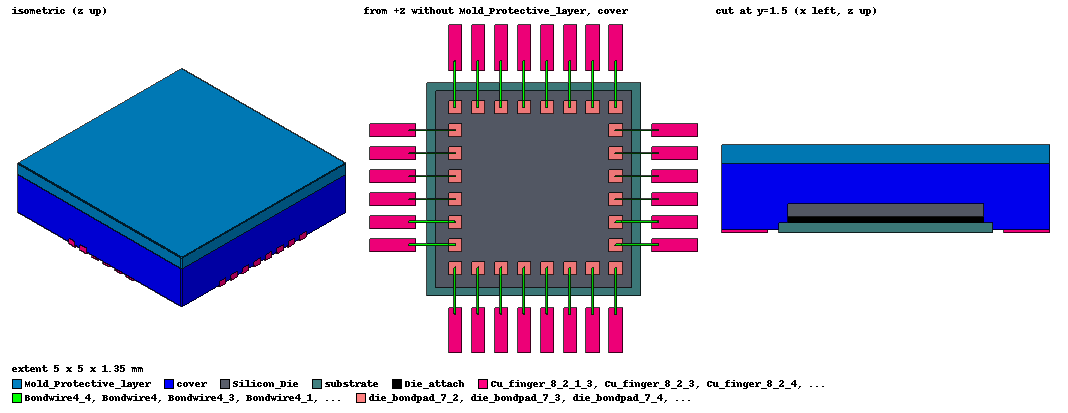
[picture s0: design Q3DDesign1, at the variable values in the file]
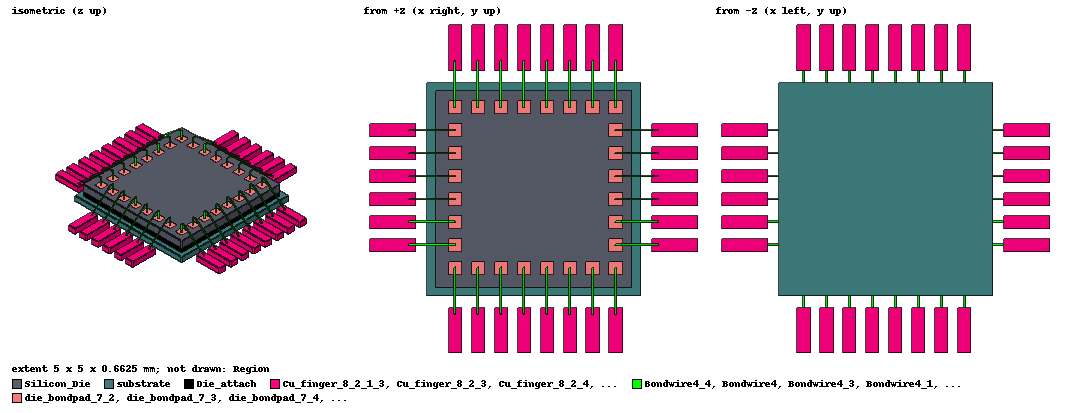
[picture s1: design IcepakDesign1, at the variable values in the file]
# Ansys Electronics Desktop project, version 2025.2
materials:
  vacuum: permittivity=1
  copper: permeability=0.999991 conductivity=58000000 thermal_conductivity=400 mass_density=8933 specific_heat=385 youngs_modulus=120000000000 poissons_ratio=0.38 thermal_expansion_coefficient=1.77e-05
  silicon: permittivity=11.9 thermal_conductivity=148 mass_density=2330 specific_heat=712 youngs_modulus=135000000000 poissons_ratio=0.25 thermal_expansion_coefficient=2.54e-06
  FR4_epoxy: permittivity=4.4 dielectric_loss_tangent=0.02 thermal_conductivity=0.294 mass_density=1900 specific_heat=1150 youngs_modulus=11000000000 poissons_ratio=0.28 thermal_expansion_coefficient=1.5e-05
  epoxy_Kevlar_xy: permittivity=3.6 thermal_conductivity=0.17 mass_density=450
  modified_epoxy: permittivity=4.2 dielectric_loss_tangent=0.02 thermal_conductivity=0.2 mass_density=1200 specific_heat=1000
  gold: permeability=0.99996 conductivity=41000000 thermal_conductivity=315 mass_density=19300 specific_heat=129 youngs_modulus=80000000000 poissons_ratio=0.4 thermal_expansion_coefficient=1.4e-05
  Al-Extruded: thermal_conductivity=205 mass_density=2800 specific_heat=900 youngs_modulus=69000000000 poissons_ratio=0.33 thermal_expansion_coefficient=2.277e-06 thermal_material_type=Solid
  air: permittivity=1.0006 permeability=1.0000004 thermal_conductivity=0.0261 mass_density=1.1614 specific_heat=1005 thermal_expansion_coefficient=0.00333 thermal_material_type=Fluid diffusivity=2.88e-05 molecular_mass=0.028966 viscosity=1.84e-05 material_refractive_index=1.000293
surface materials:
  Steel-oxidised-surface: surface_emissivity=0.8

design Q3DDesign1 (Q3D Extractor, model units mm)
options: SParamCalcMethod=EqTransLine Calculate_Lossy_Dielectrics
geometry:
  Silicon_Die [silicon] = rectangle(corner=(0mm, 0mm, 0mm), x_size=3mm, y_size=3mm)
  Silicon_Die.thicken(0.2mm)
  substrate [copper] = rectangle(corner=(-0.125mm, -0.125mm, -0.1mm), x_size=3.25mm, y_size=3.25mm)
  substrate.thicken(-0.15mm)
  Die_attach [modified_epoxy] = rectangle(corner=(0mm, 0mm, 0mm), x_size=3mm, y_size=3mm)
  Die_attach.thicken(-0.1mm)
  die_bondpad [copper] = rectangle(corner=(0.2mm, 0.2mm, 0.2mm), x_size=0.2mm, y_size=0.2mm)
  die_bondpad_1..die_bondpad_7 [copper] = die_bondpad.duplicate_along_line(step=(0.35mm, 0mm, 0mm), total=8)
  die_bondpad_7_1..die_bondpad_7_7 [copper] = die_bondpad_7.duplicate_along_line(step=(0mm, 0.35mm, 0mm), total=8)
  die_bondpad_7_7_1..die_bondpad_7_7_7 [copper] = die_bondpad_7_7.duplicate_along_line(step=(-0.35mm, 0mm, 0mm), total=8)
  die_bondpad_7_7_7_1..die_bondpad_7_7_7_6 [copper] = die_bondpad_7_7_7.duplicate_along_line(step=(0mm, -0.35mm, 0mm), total=7)
  Mold_Protective_layer [epoxy_Kevlar_xy] = rectangle(corner=(-1mm, 4mm, -0.1mm), x_size=5mm, y_size=-5mm)
  Mold_Protective_layer.thicken(-1.2mm)
  Cu_finger [copper] = rectangle(corner=(0.2mm, -0.3mm, -0.1mm), x_size=0.2mm, y_size=-0.7mm)
  Cu_finger.thicken(0.15mm)
  Cu_finger_1..Cu_finger_7 [copper] = Cu_finger.duplicate_along_line(step=(0.35mm, -1.110223e-16mm, 0mm), total=8)
  Cu_finger_8 [copper] = Cu_finger.duplicate_around_axis(axis=Z, angle=90deg, total=2)
  Cu_finger_8.move(-1.2499945mm, 0.35277217mm, -0.1mm)
  Cu_finger_8_2 [copper] = Cu_finger_8.duplicate_around_axis(axis=Z, angle=90deg, total=3)  # copies kept: 2
  Cu_finger_8.move(-0.050005489mm, -0.0027721735mm, -6.9388939e-17mm)
  Cu_finger_8_2.move(3.0499892mm, 1.2988829mm, 0mm)
  Cu_finger_8_2.move(1.6260283e-05mm, 0.0038893125mm, -1.110223e-16mm)
  Cu_finger_8_2.move(0.05mm, 0mm, 0mm)
  Cu_finger_8_2.move(0mm, 0mm, 0.075mm)
  Cu_finger_8_2.move(-0.5mm, -7.7715612e-16mm, 0.025mm)
  Cu_finger_8.move(0.5mm, -7.7715612e-15mm, 0.1mm)
  Cu_finger_8.move(-0.5mm, -6.8833828e-15mm, -0.1mm)
  Cu_finger_8_2.move(0.48998923mm, -0.001117139mm, -0.1mm)
  Cu_finger_8_2.move(0.01mm, 0mm, 0mm)
  Cu_finger_8_2_1 [copper] = Cu_finger_8_2.duplicate_around_axis(axis=Z, angle=90deg, total=2)
  Cu_finger_8_2_1.move(0.94722783mm, -0.010005489mm, -0.1mm)
  Cu_finger_8_2_1.move(0.0016550345mm, 0.01001626mm, 0.2mm)
  [Cu_finger_8_2, Cu_finger_8].move(0mm, 0mm, 0.1mm)
  Cu_finger_8_3..Cu_finger_8_7 [copper] = Cu_finger_8.duplicate_along_line(step=(1.110223e-16mm, 0.35mm, -6.9388939e-17mm), total=6)
  Cu_finger_8_2_1_1..Cu_finger_8_2_1_7 [copper] = Cu_finger_8_2_1.duplicate_along_line(step=(0.35mm, 0mm, -6.9388939e-17mm), total=8)
  Bondwire1 [gold] = bondwire(WireType=JEDEC_4Points WireDiameter=0.025mm NumSides=6 XPadPos=0.3mm YPadPos=0.3mm ZPadPos=0.2mm XDir=0mm YDir=-0.7mm ZDir=0mm Distance=0.7mm h1=0.2mm h2=0.3mm alpha=80deg beta=80deg WhichAxis=Z)
  Bondwire1_1..Bondwire1_7 [gold] = Bondwire1.duplicate_along_line(step=(0.35mm, 0mm, 0mm), total=8)
  Bondwire3 [gold] = bondwire(WireType=JEDEC_4Points WireDiameter=0.025mm NumSides=6 XPadPos=2.75mm YPadPos=2.75mm ZPadPos=0.2mm XDir=4.4408921e-16mm YDir=0.7mm ZDir=0mm Distance=0.7mm h1=0.2mm h2=0.3mm alpha=80deg beta=80deg WhichAxis=Z)
  Bondwire3_1..Bondwire3_7 [gold] = Bondwire3.duplicate_along_line(step=(-0.35mm, 0mm, 0mm), total=8)
  Bondwire4 [gold] = bondwire(WireType=JEDEC_4Points WireDiameter=0.025mm NumSides=6 XPadPos=0.3mm YPadPos=0.65mm ZPadPos=0.2mm XDir=-0.7mm YDir=-7.4384943e-15mm ZDir=0mm Distance=0.7mm h1=0.2mm h2=0.3mm alpha=80deg beta=80deg WhichAxis=Z)
  Bondwire4_1..Bondwire4_5 [gold] = Bondwire4.duplicate_along_line(step=(0mm, 0.35mm, 0mm), total=6)
  [Cu_finger_8_2_1, Cu_finger_8_2_1_1..Cu_finger_8_2_1_7].move(0mm, -0.05mm, 0mm)
  Cu_finger_8_2.move(-0.049935374mm, 0.00053317837mm, 0mm)
  Cu_finger_8_2_2..Cu_finger_8_2_6 [copper] = Cu_finger_8_2.duplicate_along_line(step=(-5.3855069e-05mm, 0.35058396mm, 0mm), total=6)
  Bondwire5 [gold] = bondwire(WireType=JEDEC_4Points WireDiameter=0.025mm NumSides=6 XPadPos=2.75mm YPadPos=0.65mm ZPadPos=0.2mm XDir=0.65002693mm YDir=-0.00029198031mm ZDir=0mm Distance=0.65002699mm h1=0.2mm h2=0.3mm alpha=80deg beta=80deg WhichAxis=Z)
  Bondwire5_1..Bondwire5_5 [gold] = Bondwire5.duplicate_along_line(step=(0mm, 0.35mm, 0mm), total=6)
  cover [epoxy_Kevlar_xy] = rectangle(corner=(-1mm, 4mm, -0.2mm), x_size=5mm, y_size=-5mm)
  cover.thicken(-1mm)

design IcepakDesign1 (Icepak, SteadyState TemperatureAndFlow, model units mm)
options: Default_Fluid_Material=air Default_Solid_Material=Al-Extruded Default_Surface_Material=Steel-oxidised-surface AmbientTemperature=20cel AmbientPressure=0n_per_meter_sq AmbientRadiationTemperature=20cel Gravity_Vector_CS_ID=Global Gravity_Vector_Axis=Z Positive=false SherlockExportDirectory="C:/Users/Aman Ghoroi/Desktop/Ansys Packaging/package_building.aedtexport/IcepakDesign1/" Altitude=0meter OperatingPressure=101325n_per_meter_sq OperatingDensity=1.225kg_per_m3
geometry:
  Region [air] = region(percentage_offset=50 on all sides)
  Silicon_Die [silicon] = rectangle(corner=(0mm, 0mm, 0mm), x_size=3mm, y_size=3mm)
  Silicon_Die.thicken(0.2mm)
  substrate [copper] = rectangle(corner=(-0.125mm, -0.125mm, -0.1mm), x_size=3.25mm, y_size=3.25mm)
  substrate.thicken(-0.15mm)
  Die_attach [modified_epoxy] = rectangle(corner=(0mm, 0mm, 0mm), x_size=3mm, y_size=3mm)
  Die_attach.thicken(-0.1mm)
  die_bondpad [copper] = rectangle(corner=(0.2mm, 0.2mm, 0.2mm), x_size=0.2mm, y_size=0.2mm)
  die_bondpad_1..die_bondpad_7 [copper] = die_bondpad.duplicate_along_line(step=(0.35mm, 0mm, 0mm), total=8)
  die_bondpad_7_1..die_bondpad_7_7 [copper] = die_bondpad_7.duplicate_along_line(step=(0mm, 0.35mm, 0mm), total=8)
  die_bondpad_7_7_1..die_bondpad_7_7_7 [copper] = die_bondpad_7_7.duplicate_along_line(step=(-0.35mm, 0mm, 0mm), total=8)
  die_bondpad_7_7_7_1..die_bondpad_7_7_7_6 [copper] = die_bondpad_7_7_7.duplicate_along_line(step=(0mm, -0.35mm, 0mm), total=7)
  Cu_finger [copper] = rectangle(corner=(0.2mm, -0.3mm, -0.1mm), x_size=0.2mm, y_size=-0.7mm)
  Cu_finger.thicken(0.15mm)
  Cu_finger_1..Cu_finger_7 [copper] = Cu_finger.duplicate_along_line(step=(0.35mm, -1.110223e-16mm, 0mm), total=8)
  Cu_finger_8 [copper] = Cu_finger.duplicate_around_axis(axis=Z, angle=90deg, total=2)
  Cu_finger_8.move(-1.2499945mm, 0.35277217mm, -0.1mm)
  Cu_finger_8_2 [copper] = Cu_finger_8.duplicate_around_axis(axis=Z, angle=90deg, total=3)  # copies kept: 2
  Cu_finger_8.move(-0.050005489mm, -0.0027721735mm, -6.9388939e-17mm)
  Cu_finger_8.move(0.5mm, -7.7715612e-15mm, 0.1mm)
  Cu_finger_8.move(-0.5mm, -6.8833828e-15mm, -0.1mm)
  Cu_finger_8.move(0mm, 0mm, 0.1mm)
  Cu_finger_8_3..Cu_finger_8_7 [copper] = Cu_finger_8.duplicate_along_line(step=(1.110223e-16mm, 0.35mm, -6.9388939e-17mm), total=6)
  Cu_finger_8_2.move(3.0499892mm, 1.2988829mm, 0mm)
  Cu_finger_8_2.move(1.6260283e-05mm, 0.0038893125mm, -1.110223e-16mm)
  Cu_finger_8_2.move(0.05mm, 0mm, 0mm)
  Cu_finger_8_2.move(0mm, 0mm, 0.075mm)
  Cu_finger_8_2.move(-0.5mm, -7.7715612e-16mm, 0.025mm)
  Cu_finger_8_2.move(0.48998923mm, -0.001117139mm, -0.1mm)
  Cu_finger_8_2.move(0.01mm, 0mm, 0mm)
  Cu_finger_8_2_1 [copper] = Cu_finger_8_2.duplicate_around_axis(axis=Z, angle=90deg, total=2)
  Cu_finger_8_2.move(0mm, 0mm, 0.1mm)
  Cu_finger_8_2.move(-0.049935374mm, 0.00053317837mm, 0mm)
  Cu_finger_8_2_2..Cu_finger_8_2_6 [copper] = Cu_finger_8_2.duplicate_along_line(step=(-5.3855069e-05mm, 0.35058396mm, 0mm), total=6)
  Cu_finger_8_2_1.move(0.94722783mm, -0.010005489mm, -0.1mm)
  Cu_finger_8_2_1.move(0.0016550345mm, 0.01001626mm, 0.2mm)
  Cu_finger_8_2_1_1..Cu_finger_8_2_1_7 [copper] = Cu_finger_8_2_1.duplicate_along_line(step=(0.35mm, 0mm, -6.9388939e-17mm), total=8)
  [Cu_finger_8_2_1, Cu_finger_8_2_1_1..Cu_finger_8_2_1_7].move(0mm, -0.05mm, 0mm)
  Bondwire1 [gold] = bondwire(WireType=JEDEC_4Points WireDiameter=0.025mm NumSides=6 XPadPos=0.3mm YPadPos=0.3mm ZPadPos=0.2mm XDir=0mm YDir=-0.7mm ZDir=0mm Distance=0.7mm h1=0.2mm h2=0.3mm alpha=80deg beta=80deg WhichAxis=Z)
  Bondwire1_1..Bondwire1_7 [gold] = Bondwire1.duplicate_along_line(step=(0.35mm, 0mm, 0mm), total=8)
  Bondwire3 [gold] = bondwire(WireType=JEDEC_4Points WireDiameter=0.025mm NumSides=6 XPadPos=2.75mm YPadPos=2.75mm ZPadPos=0.2mm XDir=4.4408921e-16mm YDir=0.7mm ZDir=0mm Distance=0.7mm h1=0.2mm h2=0.3mm alpha=80deg beta=80deg WhichAxis=Z)
  Bondwire3_1..Bondwire3_7 [gold] = Bondwire3.duplicate_along_line(step=(-0.35mm, 0mm, 0mm), total=8)
  Bondwire4 [gold] = bondwire(WireType=JEDEC_4Points WireDiameter=0.025mm NumSides=6 XPadPos=0.3mm YPadPos=0.65mm ZPadPos=0.2mm XDir=-0.7mm YDir=-7.4384943e-15mm ZDir=0mm Distance=0.7mm h1=0.2mm h2=0.3mm alpha=80deg beta=80deg WhichAxis=Z)
  Bondwire4_1..Bondwire4_5 [gold] = Bondwire4.duplicate_along_line(step=(0mm, 0.35mm, 0mm), total=6)
  Bondwire5 [gold] = bondwire(WireType=JEDEC_4Points WireDiameter=0.025mm NumSides=6 XPadPos=2.75mm YPadPos=0.65mm ZPadPos=0.2mm XDir=0.65002693mm YDir=-0.00029198031mm ZDir=0mm Distance=0.65002699mm h1=0.2mm h2=0.3mm alpha=80deg beta=80deg WhichAxis=Z)
  Bondwire5_1..Bondwire5_5 [gold] = Bondwire5.duplicate_along_line(step=(0mm, 0.35mm, 0mm), total=6)
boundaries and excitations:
  Silicon_die: Source Objects=Silicon_Die Thermal_Condition="Total Power" Total_Power=0mW
  Opening1: Opening Faces=Region.face(+z) Temperature=AmbientTemp External_Rad._Temperature=AmbientRadTemp Inlet_Type=Pressure Total_Pressure=AmbientPressure
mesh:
  Global:  MeshMethod=MesherHD ComputeGap MeshRegionResolution=2 GeometryBasedMeshing MinGapX=1mm MinGapY=1mm MinGapZ=0.13216506mm Objects=Region FacetLevel=3 ProximitySizeFunction CurvatureSizeFunction OptimizePCBMesh
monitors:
  Silicon_Die: Quantities(19) Objects=Silicon_Die
  substrate: Quantities(19) Objects=substrate
  Die_attach: Quantities(19) Objects=Die_attach
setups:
  Setup1: IcepakSteadyState Flow_Regime=Laminar Include_Temperature=true Include_Flow=true Convergence_Criteria_-_Flow=0.001 Convergence_Criteria_-_Energy=1e-07 GPU_Convergence_Criteria_-_Flow=0.001 GPU_Convergence_Criteria_-_Energy=1e-05 disabled Radiation_Model=Off Under-relaxation_-_Pressure=0.3 Under-relaxation_-_Momentum=0.7 Under-relaxation_-_Temperature=1 Under-relaxation_-_Body_Force=1 Discretization_Scheme_-_Pressure=Standard Discretization_Scheme_-_Momentum=First Discretization_Scheme_-_Temperature=First Convergence_Criteria_-_Max_Iterations=100
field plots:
  Temperature1: Temperature over Silicon_Die.face(all 6) substrate.face(all 6) Die_attach.face(all 6) die_bondpad.face(at (0.3, 0.3, 0.2)) die_bondpad_1.face die_bondpad_2.face die_bondpad_3.face die_bondpad_4.face die_bondpad_5.face die_bondpad_6.face die_bondpad_7.face die_bondpad_7_1.face die_bondpad_7_2.face die_bondpad_7_3.face die_bondpad_7_4.face die_bondpad_7_5.face die_bondpad_7_6.face die_bondpad_7_7.face die_bondpad_7_7_1.face die_bondpad_7_7_2.face die_bondpad_7_7_3.face die_bondpad_7_7_4.face die_bondpad_7_7_5.face die_bondpad_7_7_6.face die_bondpad_7_7_7.face die_bondpad_7_7_7_1.face die_bondpad_7_7_7_2.face die_bondpad_7_7_7_3.face die_bondpad_7_7_7_4.face die_bondpad_7_7_7_5.face die_bondpad_7_7_7_6.face Cu_finger.face(all 6) Cu_finger_1.face(all 6) Cu_finger_2.face(all 6) Cu_finger_3.face(all 6) Cu_finger_4.face(all 6) Cu_finger_5.face(all 6) Cu_finger_6.face(all 6) Cu_finger_7.face(all 6) Cu_finger_8.face(all 6)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 on Setup1 : SteadyState
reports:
  Monitor Plot1: Silicon_Die.Temperature vs X on Setup1 : SteadyState
